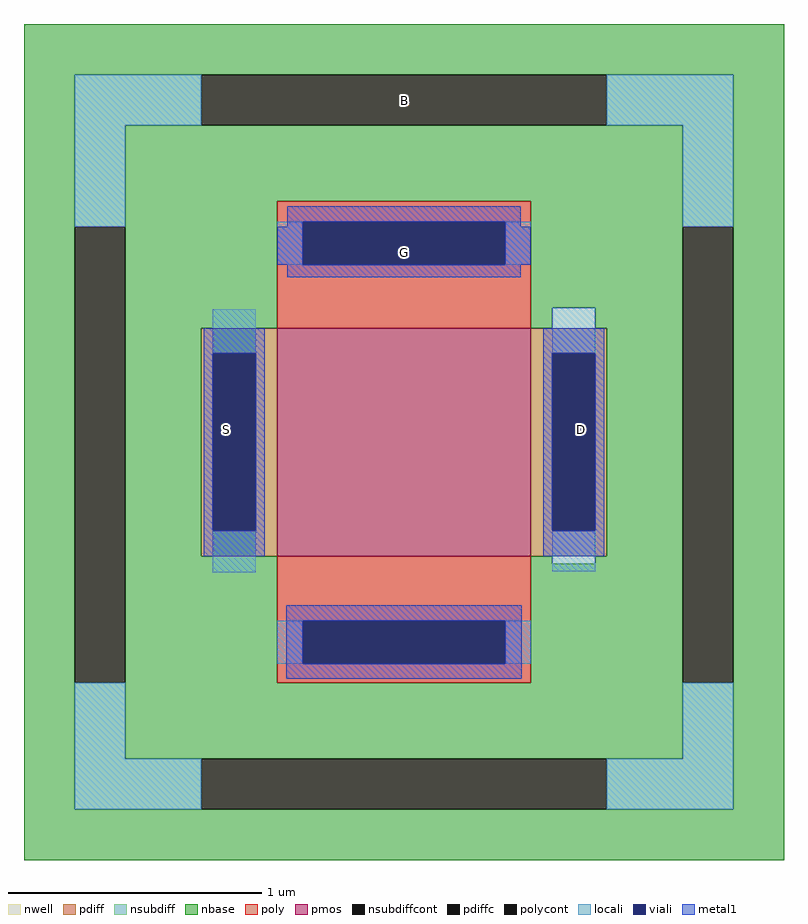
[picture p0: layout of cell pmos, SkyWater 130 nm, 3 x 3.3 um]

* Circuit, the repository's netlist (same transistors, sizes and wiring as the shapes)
* SPICE3 file created from pmos.ext - technology: sky130A

X0 D G S B sky130_fd_pr__pfet_01v8 ad=0.27 pd=2.4 as=0.27 ps=2.4 w=0.9 l=1

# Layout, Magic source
magic
tech sky130A
magscale 1 2
<< nwell >>
rect -920 920 -400 960
rect -920 420 -880 920
rect -760 760 -560 860
rect -543 760 -509 776
rect -820 740 -811 760
rect -777 740 -500 760
rect -820 600 -500 740
rect -820 580 -811 600
rect -777 580 -500 600
rect -760 480 -560 580
rect -543 574 -509 580
rect -440 420 -400 920
rect -920 380 -400 420
<< nbase >>
rect -960 960 -360 1000
rect -960 380 -920 960
rect -880 860 -440 920
rect -880 760 -760 860
rect -560 776 -440 860
rect -560 760 -543 776
rect -509 760 -440 776
rect -880 580 -820 760
rect -811 740 -777 760
rect -811 580 -777 600
rect -500 580 -440 760
rect -880 480 -760 580
rect -560 574 -543 580
rect -509 574 -440 580
rect -560 480 -440 574
rect -880 420 -440 480
rect -400 380 -360 960
rect -960 340 -360 380
<< pmos >>
rect -760 580 -560 760
<< pdiff >>
rect -820 740 -760 760
rect -820 600 -811 740
rect -777 600 -760 740
rect -820 580 -760 600
rect -560 740 -500 760
rect -560 600 -543 740
rect -509 600 -500 740
rect -560 580 -500 600
<< pdiffc >>
rect -811 600 -777 740
rect -543 600 -509 740
<< nsubdiff >>
rect -920 920 -820 960
rect -500 920 -400 960
rect -920 840 -880 920
rect -440 840 -400 920
rect -920 420 -880 480
rect -440 420 -400 480
rect -920 380 -820 420
rect -500 380 -400 420
<< nsubdiffcont >>
rect -820 920 -500 960
rect -920 480 -880 840
rect -440 480 -400 840
rect -820 380 -500 420
<< poly >>
rect -760 844 -560 860
rect -760 810 -740 844
rect -580 810 -560 844
rect -760 760 -560 810
rect -760 529 -560 580
rect -760 495 -740 529
rect -580 495 -560 529
rect -760 480 -560 495
<< polycont >>
rect -740 810 -580 844
rect -740 495 -580 529
<< locali >>
rect -920 920 -820 960
rect -500 920 -400 960
rect -920 840 -880 920
rect -760 810 -740 844
rect -580 810 -560 844
rect -440 840 -400 920
rect -811 740 -777 775
rect -811 567 -777 600
rect -543 740 -509 776
rect -543 568 -509 600
rect -760 495 -740 529
rect -580 495 -560 529
rect -920 420 -880 480
rect -440 420 -400 480
rect -920 380 -820 420
rect -500 380 -400 420
<< viali >>
rect -740 810 -580 844
rect -811 600 -777 740
rect -543 600 -509 740
rect -740 495 -580 529
<< metal1 >>
rect -752 844 -568 856
rect -752 840 -740 844
rect -760 810 -740 840
rect -580 840 -568 844
rect -580 810 -560 840
rect -752 800 -568 810
rect -818 740 -770 760
rect -818 600 -811 740
rect -777 600 -770 740
rect -818 580 -770 600
rect -550 740 -502 760
rect -550 600 -543 740
rect -509 600 -502 740
rect -550 580 -502 600
rect -753 529 -567 541
rect -753 495 -740 529
rect -580 495 -567 529
rect -753 483 -567 495
<< labels >>
flabel nsubdiffcont -660 940 -660 940 0 FreeSans 400 0 0 0 B
port 3 nsew
flabel viali -660 820 -660 820 0 FreeSans 400 0 0 0 G
port 1 nsew
flabel viali -800 680 -800 680 0 FreeSans 400 0 0 0 S
port 2 nsew
flabel viali -520 680 -520 680 0 FreeSans 400 0 0 0 D
port 0 nsew
<< end >>
